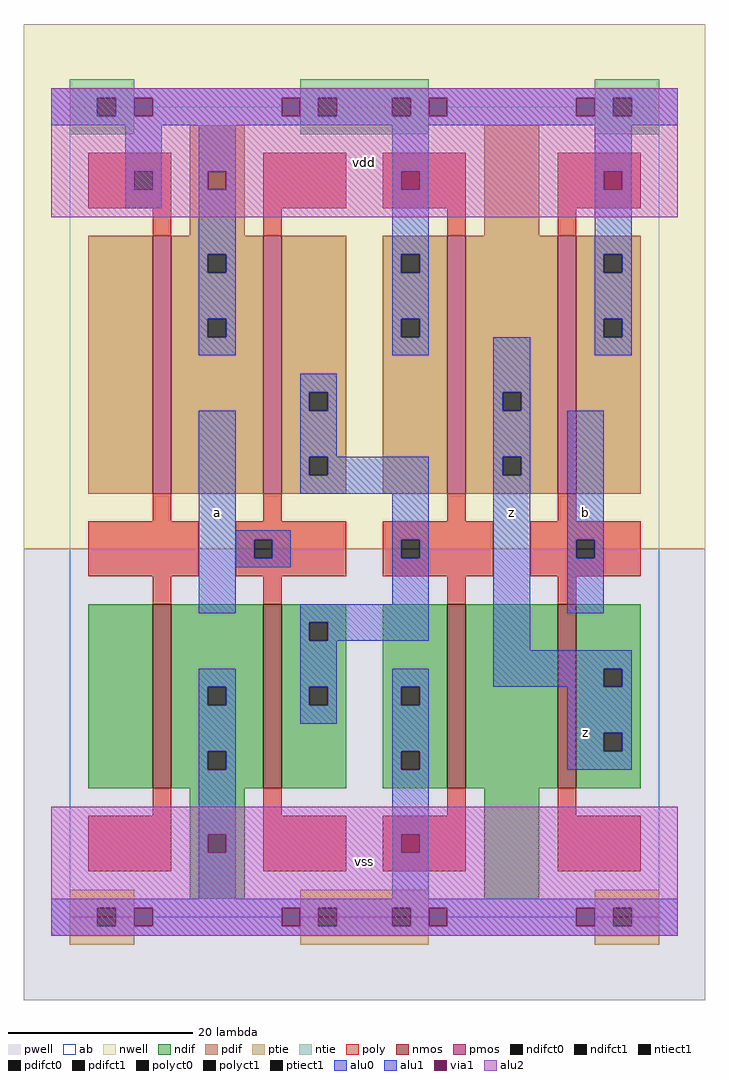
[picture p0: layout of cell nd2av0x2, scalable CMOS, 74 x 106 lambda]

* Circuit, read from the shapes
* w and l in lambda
.subckt nd2av0x2 a b vdd vss z
M1 vss vdd n1 vss nfet w=20 l=2
M2 n2 a vss vss nfet w=20 l=2
M3 n3 n2 vss vss nfet w=20 l=2
M4 z b n3 vss nfet w=20 l=2
M5 vdd vdd n4 vdd pfet w=28 l=2
M6 n2 a vdd vdd pfet w=28 l=2
M7 z n2 vdd vdd pfet w=28 l=2
M8 vdd b z vdd pfet w=28 l=2
.ends

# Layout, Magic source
magic
tech scmos
<< ab >>
rect 0 0 64 88
<< nwell >>
rect -5 40 69 97
<< pwell >>
rect -5 -9 69 40
<< poly >>
rect 2 81 11 83
rect 2 79 7 81
rect 9 79 11 81
rect 2 77 11 79
rect 9 74 11 77
rect 21 77 30 83
rect 34 77 43 83
rect 21 74 23 77
rect 41 74 43 77
rect 53 77 62 83
rect 53 74 55 77
rect 9 43 11 46
rect 21 43 23 46
rect 41 43 43 46
rect 53 43 55 46
rect 2 37 14 43
rect 18 41 30 43
rect 18 39 20 41
rect 22 39 30 41
rect 18 37 30 39
rect 34 41 46 43
rect 34 39 36 41
rect 38 39 46 41
rect 34 37 46 39
rect 50 41 62 43
rect 50 39 55 41
rect 57 39 62 41
rect 50 37 62 39
rect 9 34 11 37
rect 21 34 23 37
rect 41 34 43 37
rect 53 34 55 37
rect 9 11 11 14
rect 2 5 11 11
rect 21 11 23 14
rect 41 11 43 14
rect 21 5 30 11
rect 34 5 43 11
rect 53 11 55 14
rect 53 5 62 11
<< ndif >>
rect 2 14 9 34
rect 11 25 21 34
rect 11 23 15 25
rect 17 23 21 25
rect 11 18 21 23
rect 11 16 15 18
rect 17 16 21 18
rect 11 14 21 16
rect 23 32 30 34
rect 23 30 26 32
rect 28 30 30 32
rect 23 25 30 30
rect 23 23 26 25
rect 28 23 30 25
rect 23 14 30 23
rect 34 25 41 34
rect 34 23 36 25
rect 38 23 41 25
rect 34 18 41 23
rect 34 16 36 18
rect 38 16 41 18
rect 34 14 41 16
rect 43 14 53 34
rect 55 27 62 34
rect 55 25 58 27
rect 60 25 62 27
rect 55 20 62 25
rect 55 18 58 20
rect 60 18 62 20
rect 55 14 62 18
rect 13 2 19 14
rect 45 2 51 14
<< pdif >>
rect 13 74 19 86
rect 45 74 51 86
rect 2 46 9 74
rect 11 72 21 74
rect 11 70 15 72
rect 17 70 21 72
rect 11 65 21 70
rect 11 63 15 65
rect 17 63 21 65
rect 11 46 21 63
rect 23 57 30 74
rect 23 55 26 57
rect 28 55 30 57
rect 23 50 30 55
rect 23 48 26 50
rect 28 48 30 50
rect 23 46 30 48
rect 34 72 41 74
rect 34 70 36 72
rect 38 70 41 72
rect 34 65 41 70
rect 34 63 36 65
rect 38 63 41 65
rect 34 46 41 63
rect 43 57 53 74
rect 43 55 47 57
rect 49 55 53 57
rect 43 50 53 55
rect 43 48 47 50
rect 49 48 53 50
rect 43 46 53 48
rect 55 72 62 74
rect 55 70 58 72
rect 60 70 62 72
rect 55 65 62 70
rect 55 63 58 65
rect 60 63 62 65
rect 55 46 62 63
<< alu1 >>
rect -2 89 66 90
rect -2 87 3 89
rect 5 87 7 89
rect 9 87 23 89
rect 25 87 27 89
rect 29 87 35 89
rect 37 87 39 89
rect 41 87 55 89
rect 57 87 59 89
rect 61 87 66 89
rect -2 86 66 87
rect 6 81 10 86
rect 6 79 7 81
rect 9 79 10 81
rect 6 77 10 79
rect 14 81 18 86
rect 14 79 15 81
rect 17 79 18 81
rect 14 72 18 79
rect 14 70 15 72
rect 17 70 18 72
rect 14 65 18 70
rect 14 63 15 65
rect 17 63 18 65
rect 14 61 18 63
rect 35 81 39 86
rect 35 79 36 81
rect 38 79 39 81
rect 35 72 39 79
rect 35 70 36 72
rect 38 70 39 72
rect 35 65 39 70
rect 35 63 36 65
rect 38 63 39 65
rect 57 81 61 86
rect 57 79 58 81
rect 60 79 61 81
rect 57 72 61 79
rect 57 70 58 72
rect 60 70 61 72
rect 57 65 61 70
rect 57 63 58 65
rect 60 63 61 65
rect 35 61 39 63
rect 14 33 18 55
rect 46 57 50 63
rect 57 61 61 63
rect 46 55 47 57
rect 49 55 50 57
rect 46 50 50 55
rect 46 48 47 50
rect 49 48 50 50
rect 14 25 18 27
rect 14 23 15 25
rect 17 23 18 25
rect 14 18 18 23
rect 46 29 50 48
rect 54 41 58 55
rect 54 39 55 41
rect 57 39 58 41
rect 54 33 58 39
rect 46 27 61 29
rect 35 25 39 27
rect 46 25 58 27
rect 60 25 61 27
rect 35 23 36 25
rect 38 23 39 25
rect 14 16 15 18
rect 17 16 18 18
rect 14 9 18 16
rect 14 7 15 9
rect 17 7 18 9
rect 14 2 18 7
rect 35 18 39 23
rect 35 16 36 18
rect 38 16 39 18
rect 54 20 61 25
rect 54 18 58 20
rect 60 18 61 20
rect 54 16 61 18
rect 35 9 39 16
rect 35 7 36 9
rect 38 7 39 9
rect 35 2 39 7
rect -2 1 66 2
rect -2 -1 3 1
rect 5 -1 7 1
rect 9 -1 23 1
rect 25 -1 27 1
rect 29 -1 35 1
rect 37 -1 39 1
rect 41 -1 55 1
rect 57 -1 59 1
rect 61 -1 66 1
rect -2 -2 66 -1
<< alu2 >>
rect -2 89 66 90
rect -2 87 7 89
rect 9 87 23 89
rect 25 87 39 89
rect 41 87 55 89
rect 57 87 66 89
rect -2 81 66 87
rect -2 79 15 81
rect 17 79 36 81
rect 38 79 58 81
rect 60 79 66 81
rect -2 76 66 79
rect -2 9 66 12
rect -2 7 15 9
rect 17 7 36 9
rect 38 7 66 9
rect -2 1 66 7
rect -2 -1 7 1
rect 9 -1 23 1
rect 25 -1 39 1
rect 41 -1 55 1
rect 57 -1 66 1
rect -2 -2 66 -1
<< ptie >>
rect 0 1 7 3
rect 0 -1 3 1
rect 5 -1 7 1
rect 0 -3 7 -1
rect 25 1 39 3
rect 25 -1 27 1
rect 29 -1 35 1
rect 37 -1 39 1
rect 25 -3 39 -1
rect 57 1 64 3
rect 57 -1 59 1
rect 61 -1 64 1
rect 57 -3 64 -1
<< ntie >>
rect 0 89 7 91
rect 0 87 3 89
rect 5 87 7 89
rect 0 85 7 87
rect 25 89 39 91
rect 25 87 27 89
rect 29 87 35 89
rect 37 87 39 89
rect 25 85 39 87
rect 57 89 64 91
rect 57 87 59 89
rect 61 87 64 89
rect 57 85 64 87
<< nmos >>
rect 9 14 11 34
rect 21 14 23 34
rect 41 14 43 34
rect 53 14 55 34
<< pmos >>
rect 9 46 11 74
rect 21 46 23 74
rect 41 46 43 74
rect 53 46 55 74
<< polyct0 >>
rect 20 39 22 41
rect 36 39 38 41
<< polyct1 >>
rect 7 79 9 81
rect 55 39 57 41
<< ndifct0 >>
rect 26 30 28 32
rect 26 23 28 25
<< ndifct1 >>
rect 15 23 17 25
rect 15 16 17 18
rect 36 23 38 25
rect 36 16 38 18
rect 58 25 60 27
rect 58 18 60 20
<< ntiect1 >>
rect 3 87 5 89
rect 27 87 29 89
rect 35 87 37 89
rect 59 87 61 89
<< ptiect1 >>
rect 3 -1 5 1
rect 27 -1 29 1
rect 35 -1 37 1
rect 59 -1 61 1
<< pdifct0 >>
rect 26 55 28 57
rect 26 48 28 50
<< pdifct1 >>
rect 15 70 17 72
rect 15 63 17 65
rect 36 70 38 72
rect 36 63 38 65
rect 47 55 49 57
rect 47 48 49 50
rect 58 70 60 72
rect 58 63 60 65
<< alu0 >>
rect 25 57 29 59
rect 25 55 26 57
rect 28 55 29 57
rect 25 50 29 55
rect 25 48 26 50
rect 28 48 39 50
rect 25 46 39 48
rect 18 41 24 42
rect 18 39 20 41
rect 22 39 24 41
rect 18 38 24 39
rect 35 41 39 46
rect 35 39 36 41
rect 38 39 39 41
rect 35 34 39 39
rect 25 32 39 34
rect 25 30 26 32
rect 28 30 39 32
rect 25 25 29 30
rect 25 23 26 25
rect 28 23 29 25
rect 25 21 29 23
<< via1 >>
rect 7 87 9 89
rect 23 87 25 89
rect 39 87 41 89
rect 55 87 57 89
rect 15 79 17 81
rect 36 79 38 81
rect 58 79 60 81
rect 15 7 17 9
rect 36 7 38 9
rect 7 -1 9 1
rect 23 -1 25 1
rect 39 -1 41 1
rect 55 -1 57 1
<< labels >>
rlabel alu1 16 44 16 44 6 a
rlabel alu1 56 20 56 20 6 z
rlabel alu1 56 44 56 44 6 b
rlabel alu1 48 44 48 44 6 z
rlabel alu2 32 6 32 6 6 vss
rlabel alu2 32 82 32 82 6 vdd
<< end >>
